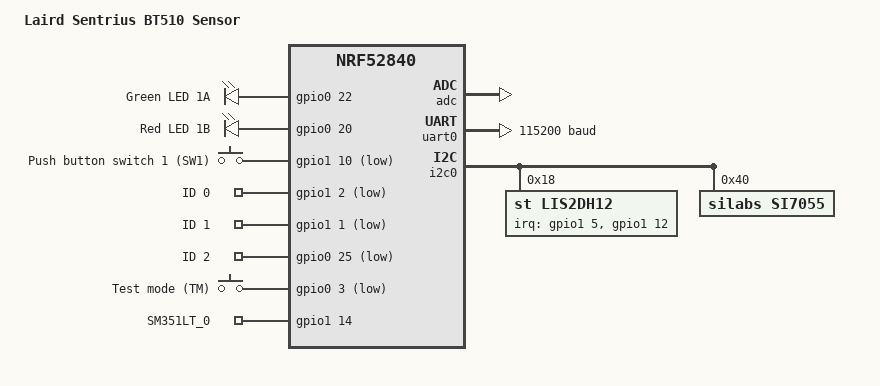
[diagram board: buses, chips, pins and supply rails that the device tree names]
/*
 * Copyright (c) 2020 Laird Connectivity
 *
 * SPDX-License-Identifier: Apache-2.0
 */

/dts-v1/;
#include <nordic/nrf52840_qiaa.dtsi>
#include "bt510-pinctrl.dtsi"

/ {
	model = "Laird Sentrius BT510 Sensor";
	compatible = "lairdconnect,bt510";

	chosen {
		zephyr,console = &uart0;
		zephyr,shell-uart = &uart0;
		zephyr,uart-mcumgr = &uart0;
		zephyr,bt-mon-uart = &uart0;
		zephyr,bt-c2h-uart = &uart0;
		zephyr,sram = &sram0;
		zephyr,flash = &flash0;
		zephyr,code-partition = &slot0_partition;
	};

	leds {
		compatible = "gpio-leds";
		led1a: led_1a {
			gpios = <&gpio0 22 GPIO_ACTIVE_HIGH>;
			label = "Green LED 1A";
		};
		led1b: led_1b {
			gpios = <&gpio0 20 GPIO_ACTIVE_HIGH>;
			label = "Red LED 1B";
		};
	};

	buttons {
		compatible = "gpio-keys";
		button0: button_0 {
			gpios = <&gpio1 10 (GPIO_PULL_UP | GPIO_ACTIVE_LOW)>;
			label = "Push button switch 1 (SW1)";
		};
	};

	ids {
		compatible = "gpio-keys";
		id0: id_0 {
			gpios = <&gpio1 2 (GPIO_PULL_UP | GPIO_ACTIVE_LOW)>;
			label = "ID 0";
		};
		id1: id_1 {
			gpios = <&gpio1 1 (GPIO_PULL_UP | GPIO_ACTIVE_LOW)>;
			label = "ID 1";
		};
		id2: id_2 {
			gpios = <&gpio0 25 (GPIO_PULL_UP | GPIO_ACTIVE_LOW)>;
			label = "ID 2";
		};
	};

	tm {
		compatible = "gpio-keys";
		tm0: tm_0 {
			gpios = <&gpio0 3 (GPIO_PULL_UP | GPIO_ACTIVE_LOW)>;
			label = "Test mode (TM)";
		};
	};

	mag {
		compatible = "gpio-keys";
		mag0: mag_0 {
			compatible = "honeywell,sm351lt";
			gpios = <&gpio1 14 0>;
			label = "SM351LT_0";
		};
	};

	/* These aliases are provided for compatibility with samples */
	aliases {
		led0 = &led1a;
		led1 = &led1b;
		sw0 = &button0;
		mcuboot-button0 = &button0;
		mcuboot-led0 = &led1a;
		watchdog0 = &wdt0;
	};
};

&adc {
	status = "okay";
};

&gpiote {
	status = "okay";
};

&gpio0 {
	status = "okay";
};

&gpio1 {
	status = "okay";
};

&uart0 {
	compatible = "nordic,nrf-uarte";
	current-speed = <115200>;
	status = "okay";
	pinctrl-0 = <&uart0_default>;
	pinctrl-1 = <&uart0_sleep>;
	pinctrl-names = "default", "sleep";
};

&i2c0 {
	compatible = "nordic,nrf-twim";
	status = "okay";

	pinctrl-0 = <&i2c0_default>;
	pinctrl-1 = <&i2c0_sleep>;
	pinctrl-names = "default", "sleep";
	lis2dh12@18 {
		compatible = "st,lis2dh12", "st,lis2dh";
		reg = <0x18>;
		irq-gpios = <&gpio1 5 GPIO_ACTIVE_HIGH>,
				<&gpio1 12 GPIO_ACTIVE_HIGH>;
		label = "LIS2DH12";
		disconnect-sdo-sa0-pull-up;
	};

	si7055@40 {
		compatible = "silabs,si7055";
		reg = <0x40>;
		label = "SI7055";
	};
};

&flash0 {
	partitions {
		compatible = "fixed-partitions";
		#address-cells = <1>;
		#size-cells = <1>;

		/* 96K */
		boot_partition: partition@0 {
			label = "mcuboot";
			reg = <0x00000000 0x00018000>;
		};
		/* 396K */
		slot0_partition: partition@18000 {
			label = "image-0";
			reg = <0x00018000 0x00063000>;
		};
		/* 396K */
		slot1_partition: partition@7b000 {
			label = "image-1";
			reg = <0x0007b000 0x00063000>;
		};
		/* 8K */
		scratch_partition: partition@de000 {
			label = "image-scratch";
			reg = <0x000de000 0x00002000>;
		};

		/*
		 * The flash starting at 0x000e0000 and ending at
		 * 0x000fffff is reserved for use by the application.
		 */

		/*
		 * Storage partition will be used by FCB/LittleFS/NVS
		 * if enabled.
		 */
		/* 128K */
		storage_partition: partition@e0000 {
			label = "storage";
			reg = <0x000e0000 0x00020000>;
		};
	};
};
